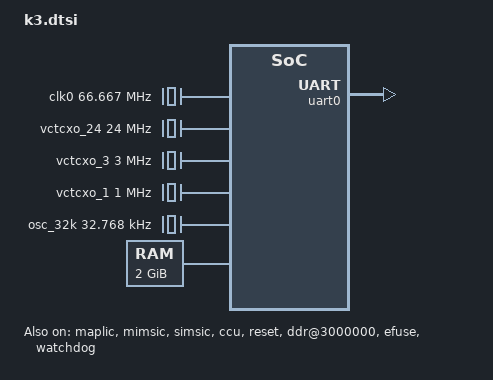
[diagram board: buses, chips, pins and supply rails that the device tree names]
// SPDX-License-Identifier: GPL-2.0
/*
 * finch board's base device tree configure.
 *
 * Copyright (C) 2025 SPACEMIT Micro Limited
 */

/dts-v1/;

#include <config.h>
#include "k3-cpus.dtsi"
#include <dt-bindings/reset/reset-spacemit-k3.h>
#include <dt-bindings/clock/spacemit-k3-clock.h>
#include <dt-bindings/power-domain/k3-pmu.h>
#include "secure_boot.dtsi"

#ifdef CONFIG_RISCV_OPTEE_SUPPORT
#include "k3-optee.dtsi"
#endif

/ {
	#address-cells = <2>;
	#size-cells = <2>;
	compatible = "spacemit,k3";

	chosen {
		stdout-path = "uart0:115200";
	};

	aliases {
		console = &uart0;
		mmc0 = &sdhci0;
		mmc1 = &sdhci1;
		mmc2 = &sdhci2;
		i2c0 = &i2c0;
		i2c1 = &i2c1;
		i2c2 = &i2c2;
		i2c3 = &i2c3;
		i2c4 = &i2c4;
		i2c5 = &i2c5;
		i2c6 = &i2c6;
		i2c8 = &i2c8;
	};

	clocks {
		clk0: osc {
			compatible = "fixed-clock";
			#clock-cells = <0>;
			clock-frequency = <66667000>;
		};
		vctcxo_24: vctcxo_24 {
			#clock-cells = <0>;
			compatible = "fixed-clock";
			clock-frequency = <24000000>;
			clock-output-names = "vctcxo_24";
		};
		vctcxo_3: vctcxo_3 {
			#clock-cells = <0>;
			compatible = "fixed-clock";
			clock-frequency = <3000000>;
			clock-output-names = "vctcxo_3";
		};
		vctcxo_1: vctcxo_1 {
			#clock-cells = <0>;
			compatible = "fixed-clock";
			clock-frequency = <1000000>;
			clock-output-names = "vctcxo_1";
		};
		pll1_vco: pll1_vco {
			#clock-cells = <0>;
			compatible = "fixed-clock";
			clock-frequency = <24576000>;
			clock-output-names = "pll1_vco";
		};
		osc_32k: osc_32k {
			#clock-cells = <0>;
			compatible = "fixed-clock";
			clock-frequency = <32768>;
			clock-output-names = "osc_32k";
		};
		clk_dummy: clk_dummy {
			#clock-cells = <0>;
			compatible = "fixed-clock";
			clock-frequency = <0>;
			clock-output-names = "clk_dummy";
		};
	};

	memory@100000000 {
		u-boot,dm-spl;
		device_type = "memory";
		reg = <0x1 0x00000000 0x0 0x80000000>;
	};

	soc {
		u-boot,dm-spl;
		#address-cells = <2>;
		#size-cells = <2>;
		compatible = "simple-bus";
		ranges;

		clint0: clint@f1810000 {
			compatible = "riscv,clint0";
			interrupts-extended = <&cpu0_intc  3 &cpu0_intc  7
				&cpu1_intc  3 &cpu1_intc  7
				&cpu2_intc  3 &cpu2_intc  7
				&cpu3_intc  3 &cpu3_intc  7
				&cpu4_intc  3 &cpu4_intc  7
				&cpu5_intc  3 &cpu5_intc  7
				&cpu6_intc  3 &cpu6_intc  7
				&cpu7_intc  3 &cpu7_intc  7
				&cpu8_intc  3 &cpu8_intc  7
				&cpu9_intc  3 &cpu9_intc  7
				&cpu10_intc  3 &cpu10_intc  7
				&cpu11_intc  3 &cpu11_intc  7
				&cpu12_intc  3 &cpu12_intc  7
				&cpu13_intc  3 &cpu13_intc  7
				&cpu14_intc  3 &cpu14_intc  7
				&cpu15_intc  3 &cpu15_intc  7
			>;
			reg = <0x0 0xf1810000 0x0 0x00010000>;
			clint,has-no-64bit-mmio;
		};

		maplic: interrupt-controller@f1800000 {
			compatible = "riscv,aplic";
			msi-parent = <&mimsic>;
			/*aplic config*/
			reg = <0x0 0xf1800000 0x0 0x4000>;
			interrupt-controller;
			#interrupt-cells = <2>;
			/*the number of wired interrupt sources*/
			riscv,num-sources = <512>;
			riscv,children = <&saplic>;
			/*M-mode delegate S-mode*/
			riscv,delegate = <&saplic 1 512>;
			status = "okay";
		};

		saplic: interrupt-controller@e0804000 {
			compatible = "riscv,aplic";
			/*aplic config*/
			reg = <0x0 0xe0804000 0x0 0x4000>;
			msi-parent = <&simsic>;
			#interrupt-cells = <2>;
			interrupt-controller;
			/*the number of wired interrupt sources*/
			riscv,num-sources = <512>;
			status = "disabled";
		};

		mimsic: interrupt-controller@f1000000 {
			compatible = "riscv,imsics";
			interrupts-extended = <&cpu0_intc 11 &cpu1_intc 11
					&cpu2_intc 11 &cpu3_intc 11
					&cpu4_intc 11 &cpu5_intc 11
					&cpu6_intc 11 &cpu7_intc 11
					&cpu8_intc 11 &cpu9_intc 11
					&cpu10_intc 11 &cpu11_intc 11
					&cpu12_intc 11 &cpu13_intc 11
					&cpu14_intc 11 &cpu15_intc 11>;
			reg = <0x0 0xf1000000 0x0 0x10000>;
			interrupt-controller;
			#interrupt-cells = <0>;
			#msi-cells = <0>;
			msi-controller;
			/* Number of interrupt identities: 511 */
			riscv,num-ids = <511>;
			status = "okay";
		};

		simsic: interrupt-controller@e0400000 {
			compatible = "riscv,imsics";
			interrupts-extended = <&cpu0_intc 9 &cpu1_intc 9
				&cpu2_intc 9 &cpu3_intc 9
				&cpu4_intc 9 &cpu5_intc 9
				&cpu6_intc 9 &cpu7_intc 9
				&cpu8_intc 9 &cpu9_intc 9
				&cpu10_intc 9 &cpu11_intc 9
				&cpu12_intc 9 &cpu13_intc 9
				&cpu14_intc 9 &cpu15_intc 9>;
			reg = <0x0 0xe0400000 0x0 0x400000>;
			interrupt-controller;
			#interrupt-cells = <0>;
			#msi-cells = <0>;
			msi-controller;
			/* Number of interrupt identities: 511 */
			riscv,num-ids = <511>;
			/* Number of guest interrupt identities: 511 */
			riscv,num-guest-ids = <511>;
			/* Number of HART index bits: 4 (2^4 = 16 harts) */
			riscv,hart-index-bits = <4>;
			/*
			 * Number of guest index bits: 6
			 *   2^6 = 64 interrupt files
			 *       = 1 s-level interrupt file + 63 vs-level interrupt files
			 *
			 * But on K3,
			 *   X100: only 7 of the 63 vs-level interrupt files are valid.
			 *   A100: no valid vs-level interrupt files.
			 */
			riscv,guest-index-bits = <6>;
			status = "okay";
		};

		ccu: clock-controller@d4050000 {
			compatible = "spacemit,k3-ccu";
			reg = <0x0 0xd4050000 0x0 0x209c>,
				<0x0 0xd4282800 0x0 0x400>,
				<0x0 0xd4015000 0x0 0x1000>,
				<0x0 0xd4090000 0x0 0x1000>,
				<0x0 0xd4282c00 0x0 0x400>,
				<0x0 0xd8440000 0x0 0x98>,
				<0x0 0xc0000000 0x0 0x4280>,
				<0x0 0xf0610000 0x0 0x20>,
				<0x0 0xc0880000 0x0 0xd100>;
			reg-names = "mpmu", "apmu", "apbc", "apbs", "ciu", "dciu", "ddrc", "apbc2", "rcpu";
			clocks = <&vctcxo_24>, <&vctcxo_3>, <&vctcxo_1>, <&pll1_vco>,
				<&osc_32k>, <&clk_dummy>;
			clock-names = "vctcxo_24", "vctcxo_3", "vctcxo_1", "pll1_vco",
				"osc_32k", "clk_dummy";
			#clock-cells = <1>;
			status = "okay";
		};

		reset: reset-controller@d4050000 {
			compatible = "spacemit,k3-reset";
			reg = <0x0 0xd4050000 0x0 0x209c>,
				<0x0 0xd4282800 0x0 0x400>,
				<0x0 0xd4015000 0x0 0x1000>,
				<0x0 0xd4090000 0x0 0x1000>,
				<0x0 0xd4282c00 0x0 0x400>,
				<0x0 0xd8440000 0x0 0x98>,
				<0x0 0xc0000000 0x0 0x4280>,
				<0x0 0xf0610000 0x0 0x20>,
				<0x0 0xc0880000 0x0 0xd100>;
			reg-names = "mpmu", "apmu", "apbc", "apbs", "ciu", "dciu", "ddrc", "apbc2", "rcpu";
			#reset-cells = <1>;
			status = "okay";
		};

		gpio: gpio@d4019000 {
			compatible = "spacemit,k3-gpio";
			reg = <0x0 0xd4019000 0x0 0x800>;
			gpio-controller;
			gpio-count = <128>;
			#gpio-cells = <2>;
			interrupts = <58 4>;
			clocks = <&ccu CLK_GPIO>;
			interrupt-names = "gpio_mux";
			interrupt-parent = <&saplic>;
		};

		pinctrl: pinctrl@d401e000 {
			compatible = "pinctrl-single";
			reg = <0x0 0xd401e000 0x0 0x400>;
			#address-cells = <1>;
			#size-cells = <1>;
			#pinctrl-cells = <2>;
			#gpio-range-cells = <3>;
			pinctrl-single,register-width = <32>;
			pinctrl-single,function-mask = <0xff77>;

			range: gpio-range {
				#pinctrl-single,gpio-range-cells = <3>;
			};
		};

                pmu: power-management@0 {
			compatible = "spacemit,k3-pm-domain";
			reg = <0x0 0xd4282800 0x0 0x400>;
			#power-domain-cells = <1>;
                };

		uart0: uart@d4017000 {
			u-boot,dm-spl;
			compatible = "ns16550";
			reg = <0x00000000 0xD4017000 0x00000000 0x00000100>;
			reg-shift = <2>;
			reg-io-width = <4>;
			clock-frequency = <14745600>;
		};

		rcpu@0 {
			compatible = "spacemit,k3-rproc";
			u-boot,dm-spl;
			reg = <0 0 0 0>;
			remoteproc-name = "rcpu0";
			coreid = <0>;
			mem_heap_start = <0x1 0x400000>;
			mem_heap_size = <0x200000>;
			fw_boot_entry = <0x1 0x200000>;
			status = "disabled";
		};

		rcpu@1 {
			compatible = "spacemit,k3-rproc";
			u-boot,dm-spl;
			reg = <0 0 0 0>;
			remoteproc-name = "rcpu1";
			coreid = <1>;
			mem_heap_start = <0x1 0xa00000>;
			mem_heap_size = <0x200000>;
			fw_boot_entry = <0x1 0x800000>;
			status = "disabled";
		};

		rpmi_shmem_mbox: rpmi-shmem-mbox@cac90c00 {
			compatible = "riscv,rpmi-shmem-mbox";
			reg = <0x1 0x00e00000 0x0 0x1000>,
				<0x1 0x00e01000 0x0 0x1000>,
				<0x1 0x00e02000 0x0 0x1000>,
				<0x1 0x00e03000 0x0 0x1000>,
				<0x0 0xcac90c00 0x0 0x100>;
			reg-names = "a2p-req", "p2a-ack", "p2a-req", "a2p-ack", "db-reg";
			riscv,slot-size = <256>;
			#mbox-cells = <1>;
			status = "okay";
		};

		rpmi_mpxy_clk: rpmi-mpxy-clk@0 {
			compatible = "riscv,rpmi-mpxy-clock";
			mboxes = <&rpmi_shmem_mbox 8>;
			riscv,sbi-mpxy-channel-id = <8>;
			status = "okay";
		};

		rpmi_mpxy_voltage: rpmi-mpxy-voltage@0 {
			compatible = "riscv,rpmi-mpxy-voltage";
			mboxes = <&rpmi_shmem_mbox 7>;
			riscv,sbi-mpxy-channel-id = <7>;
			status = "okay";
		};

		rpmi_system_suspend: rpmi-system-suspend@0 {
			compatible = "riscv,rpmi-system-suspend";
			mboxes = <&rpmi_shmem_mbox 4>;
			riscv,sbi-mpxy-channel-id = <4>;
			status = "okay";
		};

		rpmi_mpxy_hsm: rpmi-mpxy-hsm@0 {
			compatible = "riscv,rpmi-hsm";
			mboxes = <&rpmi_shmem_mbox 5>;
			riscv,sbi-mpxy-channel-id = <5>;
			status = "okay";
		};

		rpmi_mpxy_domain: rpmi-mpxy-domain@0 {
			compatible = "riscv,rpmi-mpxy-domain";
			mboxes = <&rpmi_shmem_mbox 9>;
			riscv,sbi-mpxy-channel-id = <9>;
			status = "okay";
		};

		rpmi_mpxy_rtc: rpmi-mpxy-rtc@0 {
			compatible = "riscv,rpmi-mpxy-rtc";
			mboxes = <&rpmi_shmem_mbox 14>;
			riscv,sbi-mpxy-channel-id = <14>;
			status = "okay";
		};

		rpmi_mpxy_pwrkey: rpmi-mpxy-pwrkey@0 {
			compatible = "riscv,rpmi-mpxy-pwrkey";
			mboxes = <&rpmi_shmem_mbox 15>;
			riscv,sbi-mpxy-channel-id = <15>;
			status = "okay";
		};

		rpmi_mpxy_sysreset: rpmi-mpxy-sysreset@0 {
			compatible = "riscv,rpmi-system-reset";
			mboxes = <&rpmi_shmem_mbox 3>;
			riscv,sbi-mpxy-channel-id = <3>;
			status = "okay";
		};

		ddr@3000000 {
			u-boot,dm-spl;
			compatible = "spacemit,snps-lp45";
			reg = <0x00000000 0xc0000000 0x00000000 0x00400000>;
			status = "okay";
		};

		eth0: ethernet@cac80000 {
			compatible = "spacemit,k3-dwmac-eqos";
			reg = <0x00000000 0xcac80000 0x00000000 0x00002000>;
			apmu-base-reg = <0xd4282800>;
			ctrl-reg = <0x3e4>;
			dline-reg = <0x3e8>;
			clocks = <&ccu CLK_EMAC0_BUS>;
			clock-names = "master_bus_clk";
			resets = <&reset RESET_EMAC0>;
			reset-names = "mac_reset";
			status = "disabled";
		};

		eth1: ethernet@cac82000 {
			compatible = "spacemit,k3-dwmac-eqos";
			reg = <0x00000000 0xcac82000 0x00000000 0x00002000>;
			apmu-base-reg = <0xd4282800>;
			ctrl-reg = <0x3ec>;
			dline-reg = <0x3f0>;
			clocks = <&ccu CLK_EMAC1_BUS>;
			clock-names = "master_bus_clk";
			resets = <&reset RESET_EMAC1>;
			reset-names = "mac_reset";
			status = "disabled";
		};

		eth2: ethernet@cac8e000 {
			compatible = "spacemit,k3-dwmac-eqos";
			reg = <0x00000000 0xcac8e000 0x00000000 0x00002000>;
			apmu-base-reg = <0xd4282800>;
			ctrl-reg = <0x248>;
			dline-reg = <0x24c>;
			clocks = <&ccu CLK_EMAC2_BUS>;
			clock-names = "master_bus_clk";
			resets = <&reset RESET_EMAC2>;
			reset-names = "mac_reset";
			status = "disabled";
		};

		qspi: spi@d420c000 {
			compatible = "spacemit,k3-qspi";
			#address-cells = <1>;
			#size-cells = <0>;
			reg = <0x0 0xd420c000 0x0 0x1000>,
			      <0x0 0xb8000000 0x0 0x4100000>;
			reg-names = "qspi-base", "qspi-mmap";
			qspi-sfa1ad = <0x800000>;
			qspi-sfa2ad = <0x1000000>;
			qspi-sfb1ad = <0x1800000>;
			qspi-sfb2ad = <0x2000000>;
			qspi-pmuap-reg = <0xd4282860>;
			qspi-mpmu-acgr-reg = <0xd4051024>;
			qspi-ahbread = <1>;
			qspi-freq = <26500000>;
			qspi-id = <4>;
			clocks = <&ccu CLK_QSPI>,
			          <&ccu CLK_QSPI_BUS>;
			clock-names = "qspi_clk", "qspi_bus_clk";
			resets = <&reset RESET_QSPI>,
				<&reset RESET_QSPI_BUS>;
			reset-names = "qspi_reset", "qspi_bus_reset";
			status = "disabled";
		};

		spi0: spi0@d4040000 {
			compatible = "spacemit,k3-spi";
			reg = <0x0 0xd4040000 0x0 0x30>;
			clocks = <&ccu CLK_SPI0>;
			resets = <&reset RESET_SPI0>;
			#address-cells = <1>;
			#size-cells = <0>;
			clock-frequency = <5000000>;
			port = <0>;
			status = "disabled";
		};

		spi1: spi1@d4040800 {
			compatible = "spacemit,k3-spi";
			reg = <0x0 0xd4040800 0x0 0x30>;
			clocks = <&ccu CLK_SPI1>;
			resets = <&reset RESET_SPI1>;
			#address-cells = <1>;
			#size-cells = <0>;
			clock-frequency = <5000000>;
			port = <1>;
			status = "disabled";
		};

		spi3: spi3@d401c000 {
			compatible = "spacemit,k3-spi";
			reg = <0x0 0xd401c000 0x0 0x30>;
			clocks = <&ccu CLK_SPI3>;
			resets = <&reset RESET_SPI3>;
			#address-cells = <1>;
			#size-cells = <0>;
			clock-frequency = <5000000>;
			port = <3>;
			status = "disabled";
		};

		pwm18: pwm@d4022800 {
			compatible = "spacemit,k1x-pwm";
			reg = <0x0 0xd4022800 0x0 0x10>;
			#pwm-cells = <2>;
			clocks = <&ccu CLK_PWM18>;
			resets = <&reset RESET_PWM18>;
			k1x,pwm-disable-fd;
			status = "disabled";
		};

		backlight: backlight {
			compatible = "pwm-backlight";
			brightness-levels = <0 4 8 16 32 64 100 128 255>;
			status = "disabled";
		};

		pcie_phy0: pcie-phy0@81d00000 {
			compatible = "spacemit,k3-pcie-phy";
			reg = <0x0 0x81d00000 0x0 0x1000>,
			      <0x0 0xd4090178 0x0 0x8>;
			reg-names = "phy", "apb_spare";

			spacemit,phy-id = <0>;
			spacemit,num-lanes = <2>;
			#phy-cells = <0>;
			status = "disabled";
		};

		pcie_phy1: pcie-phy1@81e00000 {
			compatible = "spacemit,k3-pcie-phy";
			reg = <0x0 0x81e00000 0x0 0x1000>,
			      <0x0 0xd4090178 0x0 0x8>;
			reg-names = "phy", "apb_spare";

			spacemit,phy-id = <1>;
			spacemit,num-lanes = <2>;
			#phy-cells = <0>;
			status = "disabled";
		};

		pcie_phy2: pcie-phy2@81f00000 {
			compatible = "spacemit,k3-pcie-phy";
			reg = <0x0 0x81f00000 0x0 0x400>,
			      <0x0 0xd4090178 0x0 0x8>;
			reg-names = "phy", "apb_spare";

			spacemit,phy-id = <2>;
			spacemit,num-lanes = <1>;
			#phy-cells = <0>;
			status = "disabled";
		};

		pcie_phy3: pcie-phy3@82000000 {
			compatible = "spacemit,k3-pcie-phy";
			reg = <0x0 0x82000000 0x0 0x400>,
			      <0x0 0xd4090178 0x0 0x8>;
			reg-names = "phy", "apb_spare";

			spacemit,phy-id = <3>;
			spacemit,num-lanes = <1>;
			#phy-cells = <0>;
			status = "disabled";
		};

		pcie_phy4: pcie-phy4@82100000 {
			compatible = "spacemit,k3-pcie-phy";
			reg = <0x0 0x82100000 0x0 0x400>,
			      <0x0 0xd4090178 0x0 0x8>;
			reg-names = "phy", "apb_spare";

			spacemit,phy-id = <4>;
			spacemit,num-lanes = <1>;
			#phy-cells = <0>;
			status = "disabled";
		};

		pcie_phy5: pcie-phy5@82200000 {
			compatible = "spacemit,k3-pcie-phy";
			reg = <0x0 0x82200000 0x0 0x400>,
			      <0x0 0xd4090178 0x0 0x8>;
			reg-names = "phy", "apb_spare";

			spacemit,phy-id = <5>;
			spacemit,num-lanes = <1>;
			#phy-cells = <0>;
			status = "disabled";
		};

		pcie0_rc: pcie@80000000 {
			compatible = "spacemit,k3-pcie";
			reg = <0x0 0x80000000 0x0 0x00001000>, /* dbi */
			      <0x0 0x80100000 0x0 0x00001000>, /* dbi2 */
			      <0x0 0x80300000 0x0 0x00003f20>, /* atu registers */
			      <0x11 0x00000000 0x0 0x00010000>, /* config space */
			      <0x0 0xd42829f0 0x0 0x00000008>, /* k3 soc config addr */
			      <0x0 0x82900000 0x0 0x00001000>; /* phy ahb */
			reg-names = "dbi", "dbi2", "atu", "config", "app", "phy_ahb";

			spacemit,pcie-mgmt = <0xd42829d8>;
			clocks = <&ccu CLK_PCIEA>;
			resets = <&reset RESET_PCIE_PORTA>;
			reset-names = "pcie-reset";

			spacemit,pcie-port = <0>;
			bus-range = <0x00 0xff>;
			max-link-speed = <3>;
			num-lanes = <8>;

			device_type = "pci";
			#address-cells = <3>;
			#size-cells = <2>;
			ranges = <0x01000000 0x0 0x00010000 0x11 0x00010000 0x0 0x00100000>,
				 <0x02000000 0x0 0x00110000 0x11 0x00110000 0x0 0x7fef0000>,
				 <0x43000000 0x18 0x00000000 0x18 0x00000000 0x1 0x00000000>;
			linux,pci-domain = <0>;
			status = "disabled";
		};

		pcie1_rc: pcie@80400000 {
			compatible = "spacemit,k3-pcie";
			reg = <0x0 0x80400000 0x0 0x00001000>, /* dbi */
			      <0x0 0x80500000 0x0 0x00001000>, /* dbi2 */
			      <0x0 0x80700000 0x0 0x00003f20>, /* atu registers */
			      <0x11 0x80000000 0x0 0x00010000>, /* config space */
			      <0x0 0xd42829d0 0x0 0x00000008>, /* k3 soc config addr */
			      <0x0 0x82c00000 0x0 0x00001000>; /* phy ahb */
			reg-names = "dbi", "dbi2", "atu", "config", "app", "phy_ahb";

			spacemit,pcie-mgmt = <0xd42829d8>;
			clocks = <&ccu CLK_PCIEB>;
			resets = <&reset RESET_PCIE_PORTB>;
			reset-names = "pcie-reset";

			spacemit,pcie-port = <1>;
			bus-range = <0x00 0xff>;
			max-link-speed = <3>;
			num-lanes = <2>;

			device_type = "pci";
			#address-cells = <3>;
			#size-cells = <2>;
			ranges = <0x01000000 0x0 0x00010000 0x11 0x80010000 0x0 0x00100000>,
				 <0x02000000 0x0 0x80110000 0x11 0x80110000 0x0 0x7fef0000>,
				 <0x43000000 0x16 0x00000000 0x16 0x00000000 0x1 0x00000000>;
			linux,pci-domain = <1>;
			status = "disabled";
		};

		pcie2_rc: pcie@80800000 {
			compatible = "spacemit,k3-pcie";
			reg = <0x0 0x80800000 0x0 0x00001000>, /* dbi */
			      <0x0 0x80900000 0x0 0x00001000>, /* dbi2 */
			      <0x0 0x80b00000 0x0 0x00003f20>, /* atu registers */
			      <0x12 0x00000000 0x0 0x00010000>, /* config space */
			      <0x0 0xd42829c8 0x0 0x00000008>, /* k3 soc config addr */
			      <0x0 0x82d00000 0x0 0x00001000>; /* phy ahb */
			reg-names = "dbi", "dbi2", "atu", "config", "app", "phy_ahb";

			spacemit,pcie-mgmt = <0xd42829d8>;
			clocks = <&ccu CLK_PCIEC>;
			resets = <&reset RESET_PCIE_PORTC>;
			reset-names = "pcie-reset";

			spacemit,pcie-port = <2>;
			bus-range = <0x00 0xff>;
			max-link-speed = <3>;
			num-lanes = <2>;

			device_type = "pci";
			#address-cells = <3>;
			#size-cells = <2>;
			ranges = <0x01000000 0x0 0x00000000 0x12 0x00010000 0x0 0x00100000>,
				 <0x02000000 0x0 0x00110000 0x12 0x00110000 0x0 0x7fef0000>,
				 <0x43000000 0x15 0x00000000 0x15 0x00000000 0x1 0x00000000>;
			linux,pci-domain = <2>;
			status = "disabled";
		};


		pcie3_rc: pcie@80c00000 {
			compatible = "spacemit,k3-pcie";
			reg = <0x0 0x80c00000 0x0 0x00001000>, /* dbi */
			      <0x0 0x80d00000 0x0 0x00001000>, /* dbi2 */
			      <0x0 0x80f00000 0x0 0x00003f20>, /* atu registers */
			      <0x12 0x80000000 0x0 0x00010000>, /* config space */
			      <0x0 0xd42829e0 0x0 0x00000008>, /* k3 soc config addr */
			      <0x0 0x82a00000 0x0 0x00001000>; /* phy ahb */
			reg-names = "dbi", "dbi2", "atu", "config", "app", "phy_ahb";

			spacemit,pcie-mgmt = <0xd42829d8>;
			clocks = <&ccu CLK_PCIED>;
			resets = <&reset RESET_PCIE_PORTD>;
			reset-names = "pcie-reset";

			spacemit,pcie-port = <3>;
			bus-range = <0x00 0xff>;
			max-link-speed = <3>;
			num-lanes = <1>;

			device_type = "pci";
			#address-cells = <3>;
			#size-cells = <2>;
			ranges = <0x01000000 0x0 0x00010000 0x12 0x80010000 0x0 0x100000>,
				 <0x02000000 0x0 0x80110000 0x12 0x80110000 0x0 0x3fef0000>,
				 <0x43000000 0x14 0x00000000 0x14 0x00000000 0x1 0x00000000>;
			linux,pci-domain = <3>;
			status = "disabled";
		};

		pcie4_rc: pcie@81000000 {
			compatible = "spacemit,k3-pcie";
			reg = <0x0 0x81000000 0x0 0x00001000>, /* dbi */
			      <0x0 0x81100000 0x0 0x00001000>, /* dbi2 */
			      <0x0 0x81300000 0x0 0x00003f20>, /* atu registers */
			      <0x12 0xc0000000 0x0 0x00010000>, /* config space */
			      <0x0 0xd42829e8 0x0 0x00000008>, /* k3 soc config addr */
			      <0x0 0x82b00000 0x0 0x00001000>; /* phy ahb */
			reg-names = "dbi", "dbi2", "atu", "config", "app", "phy_ahb";

			spacemit,pcie-mgmt = <0xd42829d8>;
			clocks = <&ccu CLK_PCIEE>;
			resets = <&reset RESET_PCIE_PORTE>;
			reset-names = "pcie-reset";

			spacemit,pcie-port = <4>;
			bus-range = <0x00 0xff>;
			max-link-speed = <3>;
			num-lanes = <1>;

			device_type = "pci";
			#address-cells = <3>;
			#size-cells = <2>;
			ranges = <0x01000000 0x0 0x00000000 0x12 0xc0010000 0x0 0x00100000>,
				 <0x02000000 0x0  0xc0110000 0x12 0xc0110000 0x0 0x3fef0000>,
				 <0x43000000 0x13 0x00000000 0x13 0x00000000 0x1 0x00000000>;
			linux,pci-domain = <4>;
			status = "disabled";
		};

		sdhci0: sdh@d4280000 {
			compatible = "spacemit,k3-sdhci";
			reg = <0x0 0xd4280000 0x0 0x200>;
			resets = <&reset RESET_SDH_AXI>,
				 <&reset RESET_SDH0>;
			reset-names = "sdh_axi", "sdh0";
			clocks = <&ccu CLK_SDH0>,
				 <&ccu CLK_SDH_AXI>;
			clock-names = "sdh-io", "sdh-core";
			status = "disabled";
		};

		sdhci1: sdh@d4280800 {
			compatible = "spacemit,k3-sdhci";
			reg = <0x0 0xd4280800 0x0 0x200>;
			resets = <&reset RESET_SDH_AXI>,
				 <&reset RESET_SDH1>;
			reset-names = "sdh_axi", "sdh1";
			clocks = <&ccu CLK_SDH1>,
				 <&ccu CLK_SDH_AXI>;
			clock-names = "sdh-io", "sdh-core";
			status = "disabled";
		};

		sdhci2: sdh@d4281000 {
			compatible = "spacemit,k3-sdhci";
			reg = <0x0 0xd4281000 0x0 0x200>;
			resets = <&reset RESET_SDH_AXI>,
				 <&reset RESET_SDH2>;
			reset-names = "sdh_axi", "sdh2";
			clocks = <&ccu CLK_SDH2>,
				 <&ccu CLK_SDH_AXI>;
			clock-names = "sdh-io", "sdh-core";
			status = "disabled";
		};

		usb2_host_u2phy: phy@c0a20000 {
			compatible = "spacemit,usb2-phy";
			reg = <0x0 0xc0a20000 0x0 0x200>;
			#phy-cells = <0>;
			status = "disabled";
		};

		usb2_host: usb2@0 {
			compatible = "spacemit,k3-dwc3";
			#address-cells = <2>;
			#size-cells = <2>;
			resets = <&reset RESET_USB2>;
			reset-names = "ctl_rst";
			clocks = <&ccu CLK_USB2_BUS>;
			clock-names = "bus";
			ranges;
			status = "disabled";
			dwc3@c0a00000 {
				compatible = "snps,dwc3";
				reg = <0x0 0xc0a00000 0x0 0x10000>;
				phys = <&usb2_host_u2phy>;
				phy-names = "usb2-phy";
				dr_mode = "host";
				maximum-speed = "high-speed";
				snps,dis_enblslpm_quirk;
				snps,dis_u2_susphy_quirk;
				snps,dis-del-phy-power-chg-quirk;
				snps,dis-tx-ipgap-linecheck-quirk;
				phy_type = "utmi";
			};
		};

		usb3_porta_u2phy: phy@cad20000 {
			compatible = "spacemit,usb2-phy";
			reg = <0x0 0xcad20000 0x0 0x200>;
			#phy-cells = <0>;
			status = "disabled";
		};

		usb3_porta_u3phy: phy@0cad30000{
			compatible = "spacemit,k3-usb3-phy",
				     "spacemit,k3-typec-switch";
			reg = <0x0 0xcad30000 0x0 0x200>,
			      <0x0 0xcad40000 0x0 0x200>,
			      <0x0 0xd4282800 0x0 0x114>,
			      <0x0 0xd4090000 0x0 0x200>;
			reg-names = "puphy",
				    "puphy1",
				    "spacemit,syscon-apmu",
				    "spacemit,syscon-apb-spare";
			phy-nums = <2>;
			#phy-cells = <0>;
			status = "disabled";
		};

		usb3_porta: usb3@0 {
			compatible = "spacemit,k3-dwc3";
			#address-cells = <2>;
			#size-cells = <2>;
			resets = <&reset RESET_USB3_PORTA>;
			reset-names = "ctl_rst";
			clocks = <&ccu CLK_USB3_PORTA_BUS>;
			clock-names = "bus";
			ranges;
			status = "disabled";
			dwc3@cad00000 {
				compatible = "snps,dwc3";
				reg = <0x0 0xcad00000 0x0 0x10000>;
				phys = <&usb3_porta_u3phy>, <&usb3_porta_u2phy>;
				phy-names = "usb3-phy", "usb2-phy";
				phy_type = "utmi";
				snps,dis_enblslpm_quirk;
				snps,dis_u2_susphy_quirk;
				snps,dis_u3_susphy_quirk;
				snps,del_phy_power_chg_quirk;
				snps,dis-tx-ipgap-linecheck-quirk;
				snps,parkmode-disable-ss-quirk;
			};
		};

		usb3_portb_u2phy: phy@81500000 {
			compatible = "spacemit,usb2-phy";
			reg = <0x0 0x81500000 0x0 0x200>;
			#phy-cells = <0>;
			status = "disabled";
		};

		usb3_portb_u3phy: phy@81f00000{
			compatible = "spacemit,k3-usb3-phy";
			reg = <0x0 0x81f00000 0x0 0x200>,
			      <0x0 0xd4282800 0x0 0x114>,
			      <0x0 0xd4090000 0x0 0x200>;
			reg-names = "puphy",
				    "spacemit,syscon-apmu",
				    "spacemit,syscon-apb-spare";
			combo-usb-bit = <2>;
			phy-nums = <1>;
			#phy-cells = <0>;
			status = "disabled";
		};

		usb3_portb: usb3@1 {
			compatible = "spacemit,k3-dwc3";
			#address-cells = <2>;
			#size-cells = <2>;
			resets = <&reset RESET_USB3_PORTB>;
			reset-names = "ctl_rst";
			clocks = <&ccu CLK_USB3_PORTB_BUS>;
			clock-names = "bus";
			ranges;
			status = "disabled";
			dwc3@81400000 {
				compatible = "snps,dwc3";
				reg = <0x0 0x81400000 0x0 0x10000>;
				dr_mode = "host";
				phys = <&usb3_portb_u3phy>, <&usb3_portb_u2phy>;
				phy-names = "usb3-phy", "usb2-phy";
				phy_type = "utmi";
				snps,dis_enblslpm_quirk;
				snps,dis_u2_susphy_quirk;
				snps,dis_u3_susphy_quirk;
				snps,del_phy_power_chg_quirk;
				snps,dis-tx-ipgap-linecheck-quirk;
				snps,parkmode-disable-ss-quirk;
			};
		};

		usb3_portc_u2phy: phy@81800000 {
			compatible = "spacemit,usb2-phy";
			reg = <0x0 0x81800000 0x0 0x200>;
			#phy-cells = <0>;
			status = "disabled";
		};

		usb3_portc_u3phy: phy@82000000{
			compatible = "spacemit,k3-usb3-phy";
			reg = <0x0 0x82000000 0x0 0x200>,
			      <0x0 0xd4282800 0x0 0x114>,
			      <0x0 0xd4090000 0x0 0x200>;
			reg-names = "puphy",
				    "spacemit,syscon-apmu",
				    "spacemit,syscon-apb-spare";
			phy-nums = <1>;
			combo-usb-bit = <1>;
			#phy-cells = <0>;
			status = "disabled";
		};

		usb3_portc: usb3@2 {
			compatible = "spacemit,k3-dwc3";
			#address-cells = <2>;
			#size-cells = <2>;
			resets = <&reset RESET_USB3_PORTC>;
			reset-names = "ctl_rst";
			clocks = <&ccu CLK_USB3_PORTC_BUS>;
			clock-names = "bus";
			ranges;
			status = "disabled";
			dwc3@81700000 {
				compatible = "snps,dwc3";
				reg = <0x0 0x81700000 0x0 0x10000>;
				dr_mode = "host";
				phys = <&usb3_portc_u3phy>, <&usb3_portc_u2phy>;
				phy-names = "usb3-phy", "usb2-phy";
				phy_type = "utmi";
				snps,dis_enblslpm_quirk;
				snps,dis_u2_susphy_quirk;
				snps,dis_u3_susphy_quirk;
				snps,del_phy_power_chg_quirk;
				snps,dis-tx-ipgap-linecheck-quirk;
				snps,parkmode-disable-ss-quirk;
			};
		};

		usb3_portd_u2phy: phy@81b00000 {
			compatible = "spacemit,usb2-phy";
			reg = <0x0 0x81b00000 0x0 0x200>;
			#phy-cells = <0>;
			status = "disabled";
		};

		usb3_portd_u3phy: phy@82100000{
			compatible = "spacemit,k3-usb3-phy";
			reg = <0x0 0x82100000 0x0 0x200>,
			      <0x0 0xd4282800 0x0 0x114>,
			      <0x0 0xd4090000 0x0 0x200>;
			reg-names = "puphy",
				    "spacemit,syscon-apmu",
				    "spacemit,syscon-apb-spare";
			combo-usb-bit = <0>;
			phy-nums = <1>;
			#phy-cells = <0>;
			status = "disabled";
		};

		usb3_portd: usb3@3 {
			compatible = "spacemit,k3-dwc3";
			#address-cells = <2>;
			#size-cells = <2>;
			resets = <&reset RESET_USB3_PORTD>;
			reset-names = "ctl_rst";
			clocks = <&ccu CLK_USB3_PORTD_BUS>;
			clock-names = "bus";
			ranges;
			status = "disabled";
			dwc3@81a00000 {
				compatible = "snps,dwc3";
				reg = <0x0 0x81a00000 0x0 0x10000>;
				dr_mode = "host";
				phys = <&usb3_portd_u3phy>, <&usb3_portd_u2phy>;
				phy-names = "usb3-phy", "usb2-phy";
				phy_type = "utmi";
				snps,dis_enblslpm_quirk;
				snps,dis_u2_susphy_quirk;
				snps,dis_u3_susphy_quirk;
				snps,del_phy_power_chg_quirk;
				snps,dis-tx-ipgap-linecheck-quirk;
				snps,parkmode-disable-ss-quirk;
			};
		};

		efuse: fuse@f0702800 {
			compatible = "spacemit,k3-efuse";
			reg = <0x0 0xf0702800 0x0 0x400>;
			resets = <&reset RESET_AES_WTM>;
			reset-names = "aes_reset";
			clocks = <&ccu CLK_AES_WTM>;
			clock-names = "aes_core_wtm";
			status = "okay";
		};

		dpu: dpu@c0340000 {
			compatible = "spacemit,dpu";
			reg = <0x0 0xc0340000 0x0 0x54000>,
				  <0x0 0xc0440000 0x0 0x54000>;
			reg-names = "crtc0", "crtc1";
			status = "disabled";

			dpu_out: port {
				#address-cells = <1>;
				#size-cells = <0>;

				dpu_out_dsi: endpoint@0 {
					reg = <0>;
					remote-endpoint = <&dsi_in_dpu>;
				};

			};
		};

		dp0: dp0@cac84000 {
			compatible = "spacemit,inno-dp";
			reg = <0x0 0xcac84000 0x0 0x4000>;
			reg-names = "base";
			dpu-id = <0>;
			dp-id = <0>;
			clocks = <&ccu CLK_LCD_PXCLK>,
					 <&ccu CLK_LCD_MCLK>,
					 <&ccu CLK_LCD_HCLK>,
					 <&ccu CLK_DSI_ESC>,
					 <&ccu CLK_DPU_ACLK>,
					 <&ccu CLK_LCD_DSC>,
					 <&ccu CLK_EDP0_PXCLK>;
			clock-names = "pxclk", "mclk", "hclk", "escclk", "aclk", "dscclk", "dppxclk";
			resets = <&reset RESET_LCD_MCLK>,
					 <&reset RESET_LCD>,
					 <&reset RESET_DSI_ESC>,
					 <&reset RESET_DPU_ACLK>,
					 <&reset RESET_LCD_DSCCLK>,
					 <&reset RESET_EDP0>;
			reset-names= "mclk_reset", "lcd_reset", "esc_reset", "aclk_reset", "dscclk_reset", "dp_reset";
			power-domains = <&pmu K3_PMU_LCD0_PWR_DOMAIN>;
			status = "disabled";
		};

		edp0: edp0@cac84000 {
			compatible = "spacemit,inno-edp";
			reg = <0x0 0xcac84000 0x0 0x4000>;
			reg-names = "base";
			dpu-id = <0>;
			edp-id = <0>;
			clocks = <&ccu CLK_LCD_PXCLK>,
					 <&ccu CLK_LCD_MCLK>,
					 <&ccu CLK_LCD_HCLK>,
					 <&ccu CLK_DSI_ESC>,
					 <&ccu CLK_DPU_ACLK>,
					 <&ccu CLK_LCD_DSC>,
					 <&ccu CLK_EDP0_PXCLK>;
			clock-names = "pxclk", "mclk", "hclk", "escclk", "aclk", "dscclk", "dppxclk";
			resets = <&reset RESET_LCD_MCLK>,
					 <&reset RESET_LCD>,
					 <&reset RESET_DSI_ESC>,
					 <&reset RESET_DPU_ACLK>,
					 <&reset RESET_LCD_DSCCLK>,
					 <&reset RESET_EDP0>;
			reset-names= "mclk_reset", "lcd_reset", "esc_reset", "aclk_reset", "dscclk_reset", "dp_reset";
			power-domains = <&pmu K3_PMU_LCD0_PWR_DOMAIN>;
			status = "disabled";
		};

		dp1: dp1@cac88000 {
			compatible = "spacemit,inno-dp";
			reg = <0x0 0xcac88000 0x0 0x4000>;
			reg-names = "base";
			dpu-id = <1>;
			dp-id = <1>;
			clocks = <&ccu CLK_DSI4LN2_LCD_PXCLK>,
					 <&ccu CLK_DSI4LN2_LCD_MCLK>,
					 <&ccu CLK_DSI4LN2_DSI_ESC>,
					 <&ccu CLK_DSI4LN2_DPU_ACLK>,
					 <&ccu CLK_DSI4LN2_LCD_DSC>,
					 <&ccu CLK_EDP1_PXCLK>;
			clock-names = "pxclk", "mclk", "escclk", "aclk", "dscclk", "dppxclk";
			resets = <&reset RESET_DSI4LN2_LCD_MCLK>,
					 <&reset RESET_DSI4LN2_LCD_SW>,
					 <&reset RESET_DSI4LN2_ESCCLK>,
					 <&reset RESET_DSI4LN2_DPU_ACLK>,
					 <&reset RESET_DSI4LN2_LCD_DSCCLK>,
					 <&reset RESET_EDP1>;
			reset-names= "mclk_reset", "lcd_reset", "esc_reset", "aclk_reset", "dscclk_reset", "dp_reset";
			power-domains = <&pmu K3_PMU_LCD1_PWR_DOMAIN>;
			status = "disabled";

		};

		edp1: edp1@cac88000 {
			compatible = "spacemit,inno-edp";
			reg = <0x0 0xcac88000 0x0 0x4000>;
			reg-names = "base";
			dpu-id = <1>;
			edp-id = <1>;
			clocks = <&ccu CLK_DSI4LN2_LCD_PXCLK>,
					 <&ccu CLK_DSI4LN2_LCD_MCLK>,
					 <&ccu CLK_DSI4LN2_DSI_ESC>,
					 <&ccu CLK_DSI4LN2_DPU_ACLK>,
					 <&ccu CLK_DSI4LN2_LCD_DSC>,
					 <&ccu CLK_EDP1_PXCLK>;
			clock-names = "pxclk", "mclk", "escclk", "aclk", "dscclk", "dppxclk";
			resets = <&reset RESET_DSI4LN2_LCD_MCLK>,
					 <&reset RESET_DSI4LN2_LCD_SW>,
					 <&reset RESET_DSI4LN2_ESCCLK>,
					 <&reset RESET_DSI4LN2_DPU_ACLK>,
					 <&reset RESET_DSI4LN2_LCD_DSCCLK>,
					 <&reset RESET_EDP1>;
			reset-names= "mclk_reset", "lcd_reset", "esc_reset", "aclk_reset", "dscclk_reset", "dp_reset";
			power-domains = <&pmu K3_PMU_LCD1_PWR_DOMAIN>;
			status = "disabled";

		};

		mipi_dsi: mipi@d421a800 {
			compatible = "spacemit,mipi-dsi";
			reg = <0x0 0xd421a800 0 0x200>;
			reg-names = "dsi";
			dpu-id = <0>;
			clocks = <&ccu CLK_LCD_PXCLK>,
				<&ccu CLK_LCD_MCLK>,
				<&ccu CLK_LCD_HCLK>,
				<&ccu CLK_DSI_ESC>,
				<&ccu CLK_LCD_DSC>,
				<&ccu CLK_DPU_ACLK>;
			clock-names = "pxclk", "mclk", "hclk", "escclk", "dscclk", "aclk";
			resets = <&reset RESET_DPU_ACLK>,
				<&reset RESET_LCD_DSCCLK>,
				<&reset RESET_LCD_MCLK>,
				<&reset RESET_DSI_ESC>,
				<&reset RESET_LCD>;
			reset-names= "aclk_reset", "dsc_reset", "mclk_reset", "esc_reset", "lcd_reset";
			power-domains = <&pmu K3_PMU_LCD0_PWR_DOMAIN>;

			status = "disabled";

			ports {
				mipi_in: port {
					#address-cells = <1>;
					#size-cells = <0>;
					dsi_in_dpu: endpoint@0 {
						reg = <0>;
						remote-endpoint = <&dpu_out_dsi>;
					};
				};
			};
		};

		panel: panel {
			  compatible = "spacemit,panel";
			  status = "disabled";
		};

		i2c0: twsi0@d4010800 {
			compatible = "spacemit,i2c";
			reg = <0x0 0xd4010800 0x0 0x38>;
			clocks = <&ccu CLK_TWSI0>;
			resets = <&reset RESET_TWSI0>;
			#address-cells = <1>;
			#size-cells = <0>;
			clock-frequency = <100000>;
			status = "disabled";
		};

		i2c1: twsi1@d4011000 {
			compatible = "spacemit,i2c";
			reg = <0x0 0xd4011000 0x0 0x38>;
			clocks = <&ccu CLK_TWSI1>;
			resets = <&reset RESET_TWSI1>;
			#address-cells = <1>;
			#size-cells = <0>;
			clock-frequency = <100000>;
			status = "disabled";
		};

		i2c2: twsi2@d4012000 {
			compatible = "spacemit,i2c";
			reg = <0x0 0xd4012000 0x0 0x38>;
			clocks = <&ccu CLK_TWSI2>;
			resets = <&reset RESET_TWSI2>;
			#address-cells = <1>;
			#size-cells = <0>;
			clock-frequency = <100000>;
			status = "disabled";
		};

		i2c3: twsi3@f0614000 {
			compatible = "spacemit,i2c";
			reg = <0x0 0xf0614000 0x0 0x38>;
			clocks = <&ccu CLK_SEC_TWSI3>;
			resets = <&reset RESET_SEC_TWSI3>;
			#address-cells = <1>;
			#size-cells = <0>;
			clock-frequency = <100000>;
			status = "disabled";
		};

		i2c4: twsi4@d4012800 {
			compatible = "spacemit,i2c";
			reg = <0x0 0xd4012800 0x0 0x38>;
			clocks = <&ccu CLK_TWSI4>;
			resets = <&reset RESET_TWSI4>;
			#address-cells = <1>;
			#size-cells = <0>;
			clock-frequency = <100000>;
			status = "disabled";
		};

		i2c5: twsi5@d4013800 {
			compatible = "spacemit,i2c";
			reg = <0x0 0xd4013800 0x0 0x38>;
			clocks = <&ccu CLK_TWSI5>;
			resets = <&reset RESET_TWSI5>;
			#address-cells = <1>;
			#size-cells = <0>;
			clock-frequency = <100000>;
			status = "disabled";
		};

		i2c6: twsi6@d4018800 {
			compatible = "spacemit,i2c";
			reg = <0x0 0xd4018800 0x0 0x38>;
			clocks = <&ccu CLK_TWSI6>;
			resets = <&reset RESET_TWSI6>;
			#address-cells = <1>;
			#size-cells = <0>;
			clock-frequency = <100000>;
			status = "disabled";
		};

		i2c8: twsi8@d401d800 {
			compatible = "spacemit,i2c";
			reg = <0x0 0xd401d800 0x0 0x38>;
			clocks = <&ccu CLK_TWSI8>;
			resets = <&reset RESET_TWSI8>;
			#address-cells = <1>;
			#size-cells = <0>;
			clock-frequency = <100000>;
			status = "disabled";
		};

		espi0: espi@cac8c000 {
			u-boot,dm-spl;
			compatible = "spacemit,k2-espi";
			reg = <0x0 0xcac8c000 0x0 0x1000>;
			#address-cells = <1>;
			#size-cells = <0>;
			pinctrl-names = "default";
			pinctrl-0 = <&pinctrl_espi0>;
			clocks = <&ccu CLK_ESPI_SCLK_SRC>, <&ccu CLK_ESPI_SCLK>, <&ccu CLK_ESPI_MCLK>;
			clock-names = "sclk_src", "sclk", "mclk";
			resets = <&reset RESET_ESPI>;
			reset-names = "espi_reset";
			assigned-clocks = <&ccu CLK_ESPI_SCLK>;
			assigned-clock-parents = <&ccu CLK_ESPI_SCLK_SRC>;

			pr_io_base = <0x86000000>;
			pr-mem-base0 = <0x84000000>;
			pr-mem-base1 = <0xCAC8C000>;

			/* Virtual-wire GPIO mapping configuration */
			/* vw-gpio-mapping = <0 0x80>,             */
			/* 				<1 0x81>,                  */
			/* 				<2 0x82>,                  */
			/* 				<3 0x83>;                  */

			/* eSPI Master configuration */
			operating-frequency = <20>;   /* 20MHz (will negotiate with slave) */
			io-mode = "single";           /* "single", "dual", or "quad" */
			alert-mode = "io1";           /* "pin" or "io1" */
			alert-type = "open-drain";    /* "open-drain" or "push-pull" */

			/* Features */
			crc-enable;                    /* Enable CRC checking */
			response-modifier-enable;      /* Enable response modifier */
			auto-gating-enable;            /* Enable auto clock gating */

			/* Channel support (master capabilities) */
			peripheral-channel-enable;     /* Enable Peripheral channel */
			vwire-channel-enable;          /* Enable Virtual Wire channel */
			oob-channel-enable;            /* Enable OOB channel */
			flash-channel-enable;          /* Enable Flash channel */

			/* Timing configuration */
			watchdog-timeout = <0xFFFF>;   /* Watchdog timeout value */
			status = "disabled";
		};

		ufs: ufs@c0e00000 {
			compatible = "spacemit,k3-ufshci";
			reg = <0x0 0xc0e00000 0x0 0x30000>;
			clocks = <&ccu CLK_UFS_ACLK>,
				 <&ccu CLK_UFS_REFCLK>;
			clock-names = "aclk", "refclk";
			resets = <&reset RESET_UFS_ACLK>;
			reset-names = "aclk_reset";
			clock-freq = <491520000>;
			ref-clk-freq = <19200000>;
			status = "disabled";
		};

		watchdog: watchdog@d4014000 {
			compatible = "spacemit,k1x-wdt";
			reg = <0x0 0xd4014000 0x0 0x1000>,
			      <0x0 0xd4051020 0x0 0x4>;
			clocks = <&ccu CLK_TIMERS0>;
			resets = <&reset RESET_TIMERS0>;
			status = "okay";
		};
	};

	wdt_reboot {
		compatible = "wdt-reboot";
		status = "okay";
	};

	/* X100 PMU (Performance Monitoring Unit) */
	pmu {
		compatible = "riscv,pmu";

		riscv,event-to-mhpmevent =
			/* CPU_CYCLES */
			<0x00001 0x0 0x1e>,
			/* INSTRUCTIONS */
			<0x00002 0x0 0x1f>,
			/* BRANCH_INSTRUCTIONS */
			<0x00005 0x0 0x01>,
			/* BRANCH_MISSES */
			<0x00006 0x0 0x02>,
			/* STALLED_CYCLES_FRONTEND */
			<0x00008 0x0 0x03>,
			/* STALLED_CYCLES_BACKEND */
			<0x00009 0x0 0x04>,
			/* L1D_READ_ACCESS */
			<0x10000 0x0 0x06>,
			/* L1D_READ_MISS */
			<0x10001 0x0 0x05>,
			/* L1D_WRITE_ACCESS */
			<0x10002 0x0 0x0a>,
			/* L1D_WRITE_MISS */
			<0x10003 0x0 0x09>,
			/* L1D_PREFETCH_ACCESS */
			<0x10004 0x0 0x08>,
			/* L1D_PREFETCH_MISS */
			<0x10005 0x0 0x07>,
			/* L1I_READ_ACCESS  */
			<0x10008 0x0 0x0c>,
			/* L1I_READ_MISS */
			<0x10009 0x0 0x0b>,
			/* DTLB_READ_ACCESS */
			<0x10018 0x0 0x16>,
			/* DTLB_WRITE_ACCESS */
			<0x1001a 0x0 0x1a>,
			/* DTLB_WRITE_MISS */
			<0x1001b 0x0 0x19>,
			/* ITLB_READ_ACCESS */
			<0x10020 0x0 0x1c>,
			/* ITLB_READ_MISS */
			<0x10021 0x0 0x1b>;

		/*
		 * 16 valid counters: mhpmcounter3 ~ mhpmcounter18
		 *   - mhpmcounter17: Cycles
		 *   - mhpmcounter18: Instructions
		 *   - mhpmcounter3~16: Other events
		 */
		riscv,event-to-mhpmcounters =
			<0x00001 0x00001 0x00020000>,
			<0x00002 0x00002 0x00040000>,
			<0x00005 0x00006 0x0001fff8>,
			<0x00008 0x00009 0x0001fff8>,
			<0x10000 0x10005 0x0001fff8>,
			<0x10008 0x10009 0x0001fff8>,
			<0x10018 0x10018 0x0001fff8>,
			<0x1001a 0x1001b 0x0001fff8>,
			<0x10020 0x10021 0x0001fff8>;

		/*
		 * 16 valid counters: mhpmcounter3 ~ mhpmcounter18
		 *   - mhpmcounter17: Cycles
		 *   - mhpmcounter18: Instructions
		 *   - mhpmcounter3~16: Other events
		 */
		riscv,raw-event-to-mhpmcounters =
			<0x0 0x01 0xffffffff 0xffffffff 0x0001fff8>,
			<0x0 0x02 0xffffffff 0xffffffff 0x0001fff8>,
			<0x0 0x03 0xffffffff 0xffffffff 0x0001fff8>,
			<0x0 0x04 0xffffffff 0xffffffff 0x0001fff8>,
			<0x0 0x05 0xffffffff 0xffffffff 0x0001fff8>,
			<0x0 0x06 0xffffffff 0xffffffff 0x0001fff8>,
			<0x0 0x07 0xffffffff 0xffffffff 0x0001fff8>,
			<0x0 0x08 0xffffffff 0xffffffff 0x0001fff8>,
			<0x0 0x09 0xffffffff 0xffffffff 0x0001fff8>,
			<0x0 0x0a 0xffffffff 0xffffffff 0x0001fff8>,
			<0x0 0x0b 0xffffffff 0xffffffff 0x0001fff8>,
			<0x0 0x0c 0xffffffff 0xffffffff 0x0001fff8>,
			<0x0 0x10 0xffffffff 0xffffffff 0x0001fff8>,
			<0x0 0x11 0xffffffff 0xffffffff 0x0001fff8>,
			<0x0 0x12 0xffffffff 0xffffffff 0x0001fff8>,
			<0x0 0x13 0xffffffff 0xffffffff 0x0001fff8>,
			<0x0 0x14 0xffffffff 0xffffffff 0x0001fff8>,
			<0x0 0x15 0xffffffff 0xffffffff 0x0001fff8>,
			<0x0 0x16 0xffffffff 0xffffffff 0x0001fff8>,
			<0x0 0x17 0xffffffff 0xffffffff 0x0001fff8>,
			<0x0 0x18 0xffffffff 0xffffffff 0x0001fff8>,
			<0x0 0x19 0xffffffff 0xffffffff 0x0001fff8>,
			<0x0 0x1a 0xffffffff 0xffffffff 0x0001fff8>,
			<0x0 0x1b 0xffffffff 0xffffffff 0x0001fff8>,
			<0x0 0x1c 0xffffffff 0xffffffff 0x0001fff8>,
			<0x0 0x1e 0xffffffff 0xffffffff 0x00020000>,  /* Cycles */
			<0x0 0x1f 0xffffffff 0xffffffff 0x00040000>,  /* Instructions */
			<0x0 0x20 0xffffffff 0xffffffff 0x0001fff8>,
			<0x0 0x21 0xffffffff 0xffffffff 0x0001fff8>,
			<0x0 0x22 0xffffffff 0xffffffff 0x0001fff8>,
			<0x0 0x24 0xffffffff 0xffffffff 0x0001fff8>,
			<0x0 0x25 0xffffffff 0xffffffff 0x0001fff8>,
			<0x0 0x26 0xffffffff 0xffffffff 0x0001fff8>,
			<0x0 0x27 0xffffffff 0xffffffff 0x0001fff8>,
			<0x0 0x28 0xffffffff 0xffffffff 0x0001fff8>,
			<0x0 0x29 0xffffffff 0xffffffff 0x0001fff8>,
			<0x0 0x2b 0xffffffff 0xffffffff 0x0001fff8>,
			<0x0 0x2d 0xffffffff 0xffffffff 0x0001fff8>,
			<0x0 0x32 0xffffffff 0xffffffff 0x0001fff8>,
			<0x0 0x33 0xffffffff 0xffffffff 0x0001fff8>,
			<0x0 0x34 0xffffffff 0xffffffff 0x0001fff8>,
			<0x0 0x35 0xffffffff 0xffffffff 0x0001fff8>,
			<0x0 0x36 0xffffffff 0xffffffff 0x0001fff8>,
			<0x0 0x37 0xffffffff 0xffffffff 0x0001fff8>,
			<0x0 0x38 0xffffffff 0xffffffff 0x0001fff8>,
			<0x0 0x3a 0xffffffff 0xffffffff 0x0001fff8>,
			<0x0 0x3b 0xffffffff 0xffffffff 0x0001fff8>,
			<0x0 0x3c 0xffffffff 0xffffffff 0x0001fff8>,
			<0x0 0x3d 0xffffffff 0xffffffff 0x0001fff8>,
			<0x0 0x3f 0xffffffff 0xffffffff 0x0001fff8>;
	};
};
